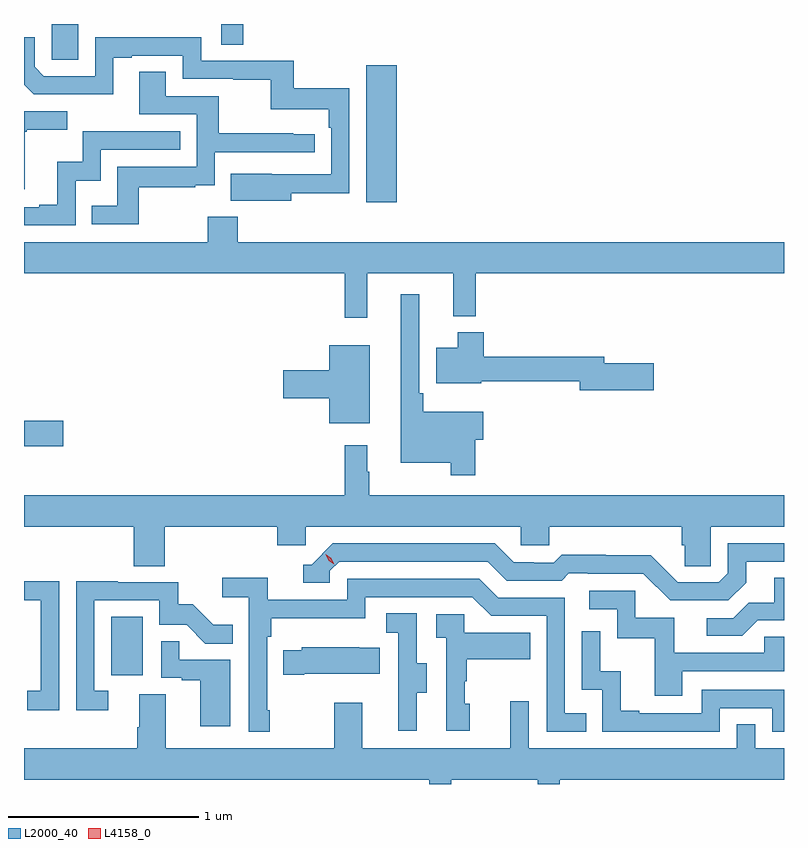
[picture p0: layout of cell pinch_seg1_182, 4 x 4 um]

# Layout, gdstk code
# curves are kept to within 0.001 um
import gdstk
lib = gdstk.Library(unit=1e-6, precision=1e-09)
def R(c, l, rs):  # rectangles x0, y0, x1, y1
    for r in rs: c.add(gdstk.rectangle(r[:2], r[2:], *l))
def P(c, l, *ps):  # polygons
    for p in ps: c.add(gdstk.Polygon(p, *l))
L2000_40 = (2000, 40)
L4158_0 = (4158, 0)

pinch_seg1_182 = lib.new_cell('pinch_seg1_182')
R(pinch_seg1_182, L2000_40, [(1128.578,542.958,1128.742,543.265), (1128.118,544.163,1128.325,544.298), (1129.919,545.448,1130.08,546.169), (1128.264,546.196,1128.403,546.385), (1129.155,546.277,1129.271,546.385)])
P(pinch_seg1_182, L2000_40, [(1129.525,545.494),(1129.83,545.494),(1129.83,546.046),(1129.537,546.046),(1129.537,546.192),(1129.05,546.192),(1129.05,546.315),(1128.492,546.315),(1128.492,546.111),(1128.222,546.111),(1128.174,546.159),(1128.174,546.315),(1128.118,546.315),(1128.118,546.065),(1128.168,546.015),(1128.589,546.014),(1128.589,546.207),(1128.685,546.207),(1128.685,546.219),(1128.954,546.219),(1128.954,546.096),(1129.219,546.096),(1129.219,546.091),(1129.416,546.091),(1129.416,545.936),(1129.721,545.936),(1129.721,545.84),(1129.734,545.84),(1129.734,545.595),(1129.207,545.596),(1129.207,545.456),(1129.525,545.456)],
  [(1128.721,545.526),(1129.019,545.526),(1129.019,545.537),(1129.122,545.537),(1129.122,545.709),(1129.648,545.709),(1129.648,545.805),(1129.535,545.805),(1129.535,545.81),(1129.142,545.81),(1129.142,546.006),(1128.865,546.006),(1128.865,546.134),(1128.725,546.134),(1128.725,545.91),(1129.026,545.91),(1129.026,545.634),(1128.61,545.634),(1128.61,545.428),(1128.475,545.428),(1128.475,545.331),(1128.721,545.331)],
  [(1128.121,545.817),(1128.133,545.817),(1128.133,545.828),(1128.346,545.828),(1128.346,545.925),(1128.118,545.925),(1128.118,545.514),(1128.121,545.514)],
  [(1128.39,545.561),(1128.522,545.561),(1128.522,545.724),(1128.941,545.724),(1128.941,545.82),(1128.426,545.82),(1128.426,545.659),(1128.293,545.659),(1128.293,545.434),(1128.197,545.434),(1128.197,545.421),(1128.118,545.421),(1128.118,545.325),(1128.39,545.325)],
  [(1129.925,545.072),(1130.378,545.072),(1130.378,544.847),(1130.495,544.847),(1130.495,545.072),(1132.118,545.072),(1132.118,545.236),(1129.244,545.236),(1129.244,545.371),(1129.084,545.371),(1129.084,545.236),(1128.118,545.236),(1128.118,545.072),(1129.807,545.072),(1129.807,544.839),(1129.925,544.839)],
  [(1130.492,544.198),(1130.536,544.198),(1130.536,544.345),(1130.219,544.345),(1130.219,544.441),(1130.199,544.441),(1130.199,544.963),(1130.102,544.963),(1130.102,544.076),(1130.364,544.076),(1130.364,544.011),(1130.492,544.011)],
  [(1131.433,544.599),(1131.172,544.599),(1131.172,544.633),(1130.537,544.633),(1130.537,544.762),(1130.402,544.762),(1130.402,544.681),(1130.288,544.681),(1130.288,544.493),(1130.524,544.493),(1130.524,544.504),(1131.044,544.504),(1131.044,544.457),(1131.433,544.457)],
  [(1129.939,544.693),(1129.724,544.693),(1129.724,544.562),(1129.482,544.562),(1129.482,544.415),(1129.724,544.415),(1129.724,544.283),(1129.939,544.283)],
  [(1128.86,543.74),(1129.451,543.74),(1129.451,543.642),(1129.602,543.642),(1129.602,543.74),(1130.733,543.74),(1130.733,543.642),(1130.883,543.642),(1130.883,543.74),(1131.581,543.74),(1131.581,543.642),(1131.595,543.642),(1131.595,543.532),(1131.732,543.532),(1131.732,543.74),(1132.118,543.74),(1132.118,543.904),(1129.936,543.904),(1129.936,544.028),(1129.924,544.028),(1129.924,544.168),(1129.807,544.168),(1129.807,543.904),(1128.118,543.904),(1128.118,543.74),(1128.695,543.74),(1128.695,543.532),(1128.86,543.532)],
  [(1131.919,543.445),(1131.919,543.555),(1132.118,543.555),(1132.118,543.651),(1131.822,543.651),(1131.822,543.495),(1131.774,543.447),(1131.558,543.447),(1131.416,543.589),(1131.18,543.589),(1131.18,543.592),(1130.947,543.592),(1130.905,543.549),(1130.802,543.549),(1130.802,543.552),(1130.695,543.552),(1130.596,543.651),(1129.743,543.651),(1129.632,543.54),(1129.589,543.54),(1129.589,543.444),(1129.728,543.444),(1129.728,543.507),(1129.776,543.555),(1130.559,543.555),(1130.658,543.456),(1130.947,543.456),(1130.986,543.495),(1131.085,543.495),(1131.085,543.492),(1131.378,543.492),(1131.519,543.351),(1131.825,543.351)],
  [(1131.979,543.246),(1132.118,543.246),(1132.118,543.47),(1132.067,543.47),(1132.067,543.338),(1131.932,543.338),(1131.852,543.258),(1131.711,543.258),(1131.711,543.165),(1131.898,543.165)],
  [(1129.411,542.773),(1129.398,542.773),(1129.398,543.161),(1129.418,543.161),(1129.418,543.257),(1129.914,543.257),(1129.914,543.369),(1130.478,543.369),(1130.577,543.27),(1130.868,543.27),(1130.868,542.661),(1131.077,542.661),(1131.077,542.757),(1130.964,542.757),(1130.964,543.366),(1130.614,543.366),(1130.515,543.465),(1129.818,543.465),(1129.818,543.354),(1129.4,543.354),(1129.4,543.47),(1129.161,543.47),(1129.161,543.368),(1129.302,543.368),(1129.302,542.661),(1129.411,542.661)],
  [(1128.562,542.877),(1128.489,542.877),(1128.489,543.351),(1128.831,543.351),(1128.831,543.222),(1128.975,543.222),(1129.073,543.124),(1129.217,543.124),(1129.217,543.223),(1129.113,543.223),(1129.006,543.33),(1128.93,543.33),(1128.93,543.447),(1128.611,543.447),(1128.611,543.452),(1128.393,543.452),(1128.393,542.772),(1128.562,542.772)],
  [(1128.303,543.452),(1128.118,543.452),(1128.118,543.351),(1128.207,543.351),(1128.207,542.877),(1128.135,542.877),(1128.135,542.772),(1128.303,542.772)],
  [(1131.583,542.979),(1132.118,542.979),(1132.118,543.159),(1132.015,543.159),(1132.015,543.075),(1131.541,543.075),(1131.541,543.261),(1131.336,543.261),(1131.336,543.402),(1131.093,543.402),(1131.093,543.306),(1131.24,543.306),(1131.24,543.153),(1131.439,543.153),(1131.439,542.85),(1131.583,542.85)],
  [(1130.185,542.866),(1130.239,542.866),(1130.239,543.021),(1130.184,543.021),(1130.184,543.284),(1130.025,543.284),(1130.025,543.181),(1130.088,543.181),(1130.088,542.877),(1130.087,542.877),(1130.087,542.664),(1130.185,542.664)],
  [(1130.464,542.808),(1130.439,542.808),(1130.439,542.927),(1130.449,542.927),(1130.449,543.041),(1130.783,543.041),(1130.783,543.181),(1130.436,543.181),(1130.436,543.279),(1130.289,543.279),(1130.289,543.155),(1130.34,543.155),(1130.34,542.664),(1130.464,542.664)],
  [(1131.78,542.784),(1132.056,542.784),(1132.056,542.661),(1132.118,542.661),(1132.118,542.88),(1131.684,542.88),(1131.684,542.757),(1131.355,542.757),(1131.355,542.77),(1131.26,542.77),(1131.26,542.978),(1131.15,542.978),(1131.15,543.19),(1131.054,543.19),(1131.054,542.88),(1131.162,542.88),(1131.162,542.661),(1131.78,542.661)],
  [(1129.204,543.039),(1128.935,543.039),(1128.935,543.137),(1128.84,543.137),(1128.84,542.943),(1128.947,542.943),(1128.947,542.931),(1129.046,542.931),(1129.046,542.688),(1129.204,542.688)],
  [(1129.594,542.966),(1129.991,542.966),(1129.991,543.103),(1129.883,543.103),(1129.883,543.106),(1129.581,543.106),(1129.581,543.088),(1129.483,543.088),(1129.483,542.959),(1129.594,542.959)],
  [(1130.367,542.408),(1130.822,542.408),(1130.822,542.385),(1130.939,542.385),(1130.939,542.408),(1132.118,542.408),(1132.118,542.572),(1131.966,542.572),(1131.966,542.699),(1131.87,542.699),(1131.87,542.572),(1130.775,542.572),(1130.775,542.821),(1130.678,542.821),(1130.678,542.572),(1129.897,542.572),(1129.897,542.812),(1129.75,542.812),(1129.75,542.572),(1128.865,542.572),(1128.865,542.858),(1128.725,542.858),(1128.725,542.684),(1128.713,542.684),(1128.713,542.572),(1128.118,542.572),(1128.118,542.408),(1130.251,542.408),(1130.251,542.385),(1130.367,542.385)])
P(pinch_seg1_182, L4158_0, [(1129.752,543.541),(1129.721,543.56),(1129.705,543.593),(1129.705,543.593),(1129.705,543.593),(1129.736,543.574),(1129.752,543.541),(1129.752,543.541)])

lib.write_gds('pinch_seg1_182.gds')
